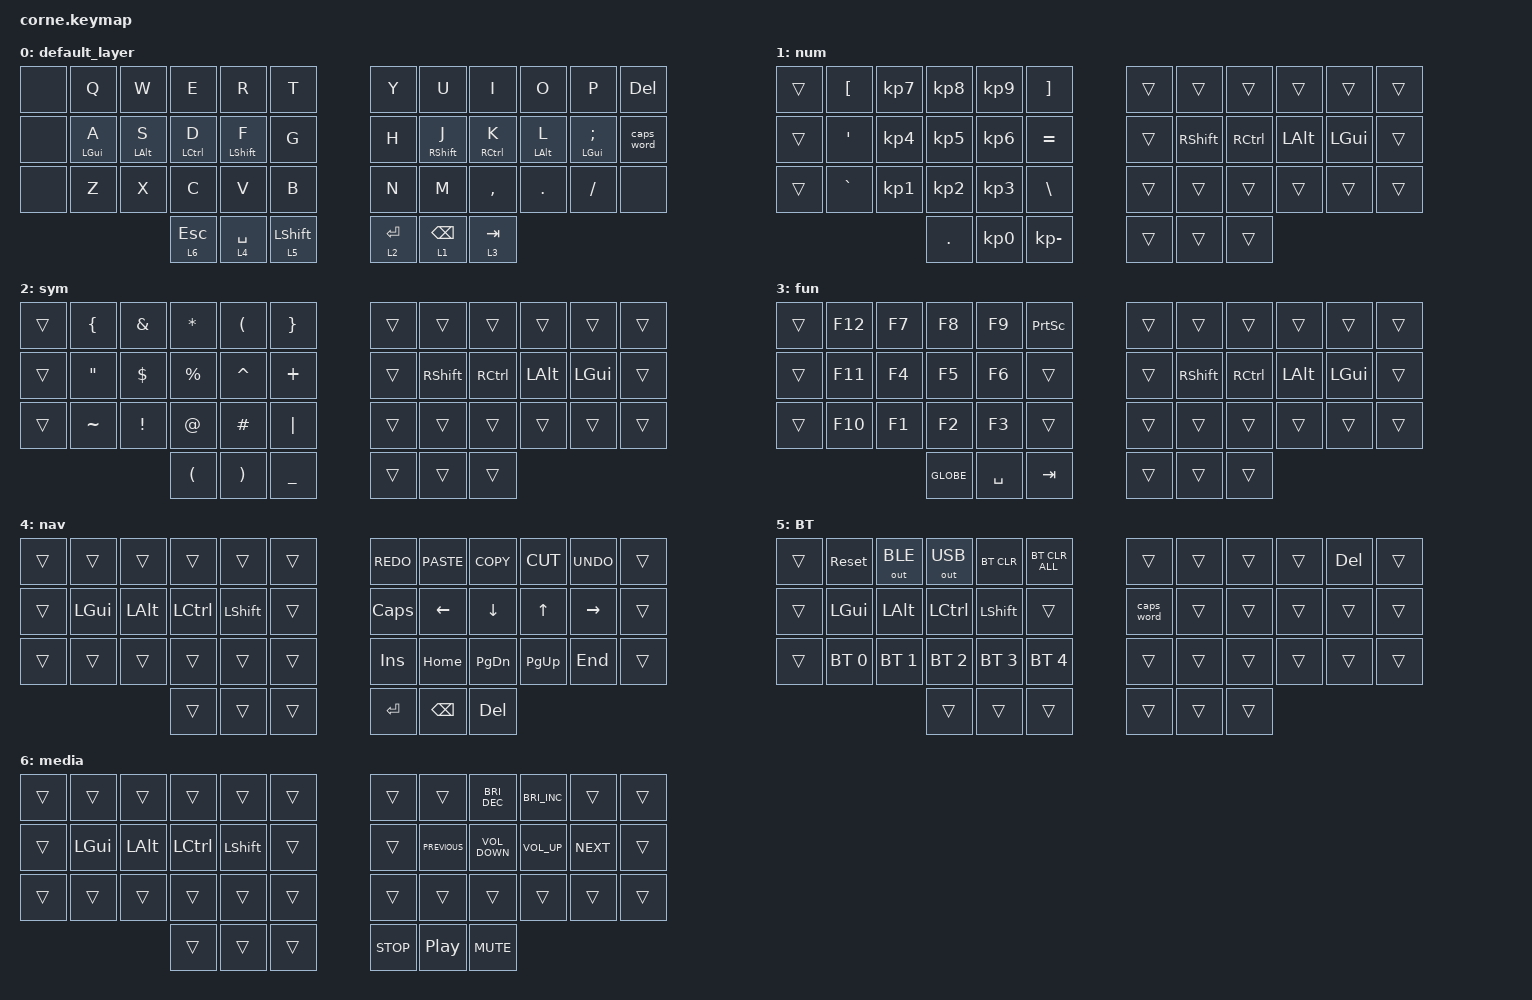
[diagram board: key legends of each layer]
/*
 * Copyright (c) 2020 The ZMK Contributors
 *
 * SPDX-License-Identifier: MIT
 */

#include <behaviors.dtsi>
#include <dt-bindings/zmk/bt.h>
#include <dt-bindings/zmk/keys.h>
#include <dt-bindings/zmk/outputs.h>

/ {
    behaviors {
        l_hm: left_homerow_mods {
            compatible = "zmk,behavior-hold-tap";
            label = "L_HM";
            bindings = <&kp>, <&kp>;

            #binding-cells = <2>;
            flavor = "balanced";
            tapping-term-ms = <220>;
            quick-tap-ms = <175>;
            require-prior-idle-ms = <175>;
            hold-trigger-on-release;
            hold-trigger-key-positions = <6 7 8 9 10 11 18 19 20 21 22 23 30 31 32 33 34 35 39 40 41>;
        };

        r_hm: right_homerow_mod {
            compatible = "zmk,behavior-hold-tap";
            label = "R_HM";
            bindings = <&kp>, <&kp>;

            #binding-cells = <2>;
            tapping-term-ms = <220>;
            flavor = "balanced";
            quick-tap-ms = <175>;
            require-prior-idle-ms = <175>;
            hold-trigger-on-release;
            hold-trigger-key-positions = <0 1 2 3 4 5 12 13 14 15 16 17 24 25 26 27 28 29 36 37 38>;
        };

        l_tl: left_thumb_layer {
            compatible = "zmk,behavior-hold-tap";
            label = "LEFT_THUMB_LAYER";
            bindings = <&mo>, <&kp>;

            #binding-cells = <2>;
            tapping-term-ms = <220>;
            flavor = "balanced";
            hold-trigger-key-positions = <6 7 8 9 10 11 18 19 20 21 22 23 30 31 32 33 34 35 39 40 41>;
            hold-trigger-on-release;
        };

        r_tl: right_thumb_layer {
            compatible = "zmk,behavior-hold-tap";
            label = "R_TL";
            bindings = <&mo>, <&kp>;

            #binding-cells = <2>;
            tapping-term-ms = <220>;
            flavor = "hold-preferred";
            hold-trigger-key-positions = <0 1 2 3 4 5 12 13 14 15 16 17 24 25 26 27 28 29 36 37 38>;
            hold-trigger-on-release;
        };

        l_tls: left_thumb_layer_sk {
            compatible = "zmk,behavior-hold-tap";
            label = "L_TLS";
            bindings = <&mo>, <&csk>;

            #binding-cells = <2>;
            tapping-term-ms = <220>;
            flavor = "tap-preferred";
            hold-trigger-key-positions = <6 7 8 9 10 11 18 19 20 21 22 23 30 31 32 33 34 35 39 40 41>;
            hold-trigger-on-release;
        };

        csk: custom-sticky-key {
            compatible = "zmk,behavior-sticky-key";
            label = "CSK";
            bindings = <&kp>;
            #binding-cells = <1>;
            quick-release;
            release-after-ms = <1000>;
            ignore-modifiers;
        };
    };

    keymap {
        compatible = "zmk,keymap";

        default_layer {
            // -----------------------------------------------------------------------------------------
            // |  TAB |  Q  |  W  |  E  |  R  |  T  |   |  Y  |  U   |  I  |  O  |  P  | BSPC |
            // | CTRL |  A  |  S  |  D  |  F  |  G  |   |  H  |  J   |  K  |  L  |  ;  |  '   |
            // | SHFT |  Z  |  X  |  C  |  V  |  B  |   |  N  |  M   |  ,  |  .  |  /  | ESC  |
            //                    | GUI | LWR | SPC |   | ENT | RSE  | ALT |

            bindings = <
&none  &kp Q         &kp W         &kp E          &kp R          &kp T              &kp Y          &kp U              &kp I          &kp O             &kp P            &kp DELETE
&none  &l_hm LGUI A  &l_hm LALT S  &l_hm LCTRL D  &l_hm LSHFT F  &kp G              &kp H          &r_hm RSHIFT J     &r_hm RCTRL K  &r_hm LEFT_ALT L  &r_hm LGUI SEMI  &caps_word
&none  &kp Z         &kp X         &kp C          &kp V          &kp B              &kp N          &kp M              &kp COMMA      &kp DOT           &kp FSLH         &none
                                   &l_tl 6 ESC    &l_tl 4 SPACE  &l_tls 5 LSHIFT    &r_tl 2 ENTER  &r_tl 1 BACKSPACE  &r_tl 3 TAB
            >;
        };

        num {
            // -----------------------------------------------------------------------------------------
            // |  TAB |  1  |  2  |  3  |  4  |  5  |   |  6  |  7  |  8  |  9  |  0  | BSPC |
            // | BTCLR| BT1 | BT2 | BT3 | BT4 | BT5 |   | LFT | DWN |  UP | RGT |     |      |
            // | SHFT |     |     |     |     |     |   |     |     |     |     |     |      |
            //                    | GUI |     | SPC |   | ENT |     | ALT |

            bindings = <
&trans  &kp LBKT   &kp KP_NUMBER_7  &kp KP_NUMBER_8  &kp KP_NUMBER_9  &kp RBKT         &trans  &trans      &trans     &trans    &trans    &trans
&trans  &kp SQT    &kp KP_NUMBER_4  &kp KP_NUMBER_5  &kp KP_NUMBER_6  &kp EQUAL        &trans  &kp RSHIFT  &kp RCTRL  &kp LALT  &kp LGUI  &trans
&trans  &kp GRAVE  &kp KP_NUMBER_1  &kp KP_NUMBER_2  &kp KP_NUMBER_3  &kp BACKSLASH    &trans  &trans      &trans     &trans    &trans    &trans
                                    &kp DOT          &kp KP_NUMBER_0  &kp KP_MINUS     &trans  &trans      &trans
            >;
        };

        sym {
            // -----------------------------------------------------------------------------------------
            // |  TAB |  !  |  @  |  #  |  $  |  %  |   |  ^  |  &  |  *  |  (  |  )  | BSPC |
            // | CTRL |     |     |     |     |     |   |  -  |  =  |  [  |  ]  |  \  |  `   |
            // | SHFT |     |     |     |     |     |   |  _  |  +  |  {  |  }  | "|" |  ~   |
            //                    | GUI |     | SPC |   | ENT |     | ALT |

            bindings = <
&trans  &kp LBRC           &kp AMPERSAND    &kp ASTERISK  &kp LPAR   &kp RBRC          &trans  &trans      &trans     &trans    &trans    &trans
&trans  &kp DOUBLE_QUOTES  &kp DOLLAR       &kp PERCENT   &kp CARET  &kp PLUS          &trans  &kp RSHIFT  &kp RCTRL  &kp LALT  &kp LGUI  &trans
&trans  &kp TILDE          &kp EXCLAMATION  &kp AT        &kp HASH   &kp PIPE          &trans  &trans      &trans     &trans    &trans    &trans
                                            &kp LPAR      &kp RPAR   &kp UNDERSCORE    &trans  &trans      &trans
            >;
        };

        fun {
            bindings = <
&trans  &kp F12  &kp F7  &kp F8     &kp F9     &kp PRINTSCREEN    &trans  &trans      &trans     &trans    &trans    &trans
&trans  &kp F11  &kp F4  &kp F5     &kp F6     &trans             &trans  &kp RSHIFT  &kp RCTRL  &kp LALT  &kp LGUI  &trans
&trans  &kp F10  &kp F1  &kp F2     &kp F3     &trans             &trans  &trans      &trans     &trans    &trans    &trans
                         &kp GLOBE  &kp SPACE  &kp TAB            &trans  &trans      &trans
            >;
        };

        nav {
            bindings = <
&trans  &trans    &trans    &trans     &trans      &trans    &kp K_REDO    &kp K_PASTE     &kp K_COPY      &kp K_CUT  &kp K_UNDO  &trans
&trans  &kp LGUI  &kp LALT  &kp LCTRL  &kp LSHIFT  &trans    &kp CAPSLOCK  &kp LEFT_ARROW  &kp DOWN_ARROW  &kp UP     &kp RIGHT   &trans
&trans  &trans    &trans    &trans     &trans      &trans    &kp INS       &kp HOME        &kp PG_DN       &kp PG_UP  &kp END     &trans
                            &trans     &trans      &trans    &kp ENTER     &kp BACKSPACE   &kp DELETE
            >;
        };

        BT {
            bindings = <
&trans  &sys_reset    &out OUT_BLE  &out OUT_USB  &bt BT_CLR    &bt BT_CLR_ALL    &trans      &trans  &trans  &trans  &kp DELETE  &trans
&trans  &kp LGUI      &kp LALT      &kp LCTRL     &kp LSHIFT    &trans            &caps_word  &trans  &trans  &trans  &trans      &trans
&trans  &bt BT_SEL 0  &bt BT_SEL 1  &bt BT_SEL 2  &bt BT_SEL 3  &bt BT_SEL 4      &trans      &trans  &trans  &trans  &trans      &trans
                                    &trans        &trans        &trans            &trans      &trans  &trans
            >;
        };

        media {
            bindings = <
&trans  &trans    &trans    &trans     &trans      &trans    &trans      &trans            &kp C_BRI_DEC      &kp C_BRI_INC    &trans      &trans
&trans  &kp LGUI  &kp LALT  &kp LCTRL  &kp LSHIFT  &trans    &trans      &kp C_PREVIOUS    &kp C_VOLUME_DOWN  &kp C_VOLUME_UP  &kp C_NEXT  &trans
&trans  &trans    &trans    &trans     &trans      &trans    &trans      &trans            &trans             &trans           &trans      &trans
                            &trans     &trans      &trans    &kp C_STOP  &kp C_PLAY_PAUSE  &kp K_MUTE
            >;
        };
    };
};
